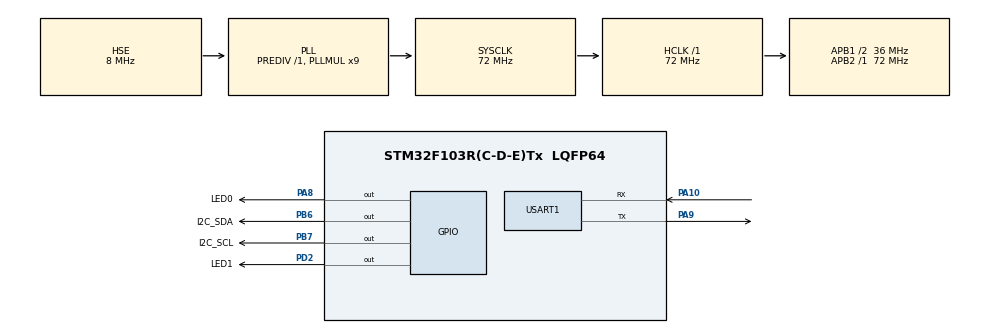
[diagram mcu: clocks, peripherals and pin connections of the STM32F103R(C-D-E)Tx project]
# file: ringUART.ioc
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Mcu.Family=STM32F1
Mcu.Name=STM32F103R(C-D-E)Tx
Mcu.Package=LQFP64
NVIC.PriorityGroup=NVIC_PRIORITYGROUP_4
NVIC.USART1_IRQn=true\:0\:0\:false\:false\:true\:true\:true
PA10.Mode=Asynchronous
PA10.Signal=USART1_RX
PA13.Mode=JTAG_5_pins
PA13.Signal=SYS_JTMS-SWDIO
PA14.Mode=JTAG_5_pins
PA14.Signal=SYS_JTCK-SWCLK
PA15.Mode=JTAG_5_pins
PA15.Signal=SYS_JTDI
PA8.GPIO_Label=LED0
PA8.GPIO_PuPd=GPIO_NOPULL
PA8.GPIO_Speed=GPIO_SPEED_FREQ_HIGH
PA8.PinState=GPIO_PIN_SET
PA8.Signal=GPIO_Output
PA9.Mode=Asynchronous
PA9.Signal=USART1_TX
PB3.Mode=JTAG_5_pins
PB3.Signal=SYS_JTDO-TRACESWO
PB4.Mode=JTAG_5_pins
PB4.Signal=SYS_NJTRST
PB6.GPIO_Label=I2C_SDA
PB6.Signal=GPIO_Output
PB7.GPIO_Label=I2C_SCL
PB7.Signal=GPIO_Output
PC14-OSC32_IN.Mode=LSE-External-Oscillator
PC14-OSC32_IN.Signal=RCC_OSC32_IN
PC15-OSC32_OUT.Mode=LSE-External-Oscillator
PC15-OSC32_OUT.Signal=RCC_OSC32_OUT
PD0-OSC_IN.Mode=HSE-External-Oscillator
PD0-OSC_IN.Signal=RCC_OSC_IN
PD1-OSC_OUT.Mode=HSE-External-Oscillator
PD1-OSC_OUT.Signal=RCC_OSC_OUT
PD2.GPIO_Label=LED1
PD2.GPIO_PuPd=GPIO_NOPULL
PD2.GPIO_Speed=GPIO_SPEED_FREQ_HIGH
PD2.PinState=GPIO_PIN_SET
PD2.Signal=GPIO_Output
ProjectManager.HeapSize=0x200
ProjectManager.StackSize=0x400
ProjectManager.TargetToolchain=MDK-ARM V5.27
RCC.AHBFreq_Value=72000000
RCC.APB1CLKDivider=RCC_HCLK_DIV2
RCC.APB1Freq_Value=36000000
RCC.APB1TimFreq_Value=72000000
RCC.APB2Freq_Value=72000000
RCC.APB2TimFreq_Value=72000000
RCC.HCLKFreq_Value=72000000
RCC.PLLMUL=RCC_PLL_MUL9
RCC.PLLSourceVirtual=RCC_PLLSOURCE_HSE
RCC.SYSCLKFreq_VALUE=72000000
RCC.SYSCLKSource=RCC_SYSCLKSOURCE_PLLCLK
RCC.USBFreq_Value=72000000
USART1.VirtualMode=VM_ASYNC
board=custom

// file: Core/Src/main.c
/* USER CODE BEGIN Header */
/**
  ******************************************************************************
  * @file           : main.c
  * @brief          : Main program body
  ******************************************************************************
  * @attention
  *
  * <h2><center>&copy; Copyright (c) 2022 STMicroelectronics.
  * All rights reserved.</center></h2>
  *
  * This software component is licensed by ST under BSD 3-Clause license,
  * the "License"; You may not use this file except in compliance with the
  * License. You may obtain a copy of the License at:
  *                        opensource.org/licenses/BSD-3-Clause
  *
  ******************************************************************************
  */
/* USER CODE END Header */
#include "main.h"
#include "usart.h"
#include "gpio.h"

/* USER CODE BEGIN Includes */
#include "bsp_i2c.h"
/* USER CODE END Includes */

/* USER CODE BEGIN PTD */
static I2C_HANDLE AT24C02_Handle;
static I2C_HANDLE I2C1_Handle;
/* USER CODE END PTD */

/* USER CODE BEGIN PV */

#define ADDR_AT24C02_Write 0xA0
#define ADDR_AT24C02_Read 0xA1
uint8_t I2C_Buffer_Write[256];
uint8_t I2C_Buffer_Read[256];

#define AT24C02_SDA_Port GPIOB
#define AT24C02_SCL_Port GPIOB
#define AT24C02_SDA_Pin GPIO_PIN_7
#define AT24C02_SCL_Pin GPIO_PIN_6
#define I2C_SDA_Port	GPIOC
#define I2C_SCL_Port	GPIOC
#define I2C_SDA_Pin		GPIO_PIN_11
#define I2C_SCL_Pin		GPIO_PIN_12

/* USER CODE END PV */

void SystemClock_Config(void);

/* USER CODE BEGIN 0 */
	uint8_t ack;
/* USER CODE END 0 */

int main(void)
{
  /* USER CODE BEGIN 1 */
	uint16_t i = 0;
    delay_init(72);
  /* USER CODE END 1 */

  /* MCU Configuration--------------------------------------------------------*/

  /* Reset of all peripherals, Initializes the Flash interface and the Systick. */
  HAL_Init();

  /* Configure the system clock */
  SystemClock_Config();

  /* Initialize all configured peripherals */
  MX_GPIO_Init();
  MX_USART1_UART_Init();
  /* USER CODE BEGIN 2 */
    __HAL_UART_ENABLE_IT(&huart1,UART_IT_RXNE);
    __HAL_UART_ENABLE_IT(&huart1,UART_IT_IDLE);
    LED0_ON;
    LED1_ON;

	if(I2C_Init(&AT24C02_Handle,AT24C02_SDA_Port,AT24C02_SCL_Port,AT24C02_SDA_Pin,AT24C02_SCL_Pin,1)==false)
	{
		printf("AT24C02 初始化失败，IIC接口初始化失败！\r\n");
		return false;
	}
	if(I2C_Init(&I2C1_Handle,I2C_SDA_Port,I2C_SCL_Port,I2C_SDA_Pin,I2C_SCL_Pin,1)==false)
	{
		printf("I2C1 初始化失败，I2C接口初始化失败！\r\n");
		return false;
	}
  /* USER CODE END 2 */

  /* Infinite loop */
  /* USER CODE BEGIN WHILE */

    while (1)
    {
		uint8_t address,nread;
		int nDevices = 0;

		printf("I2C0 Scanning for I2C devices ...\r\n");
		for(address = 0x00 ;address < 0xFF; address++)
		{
			I2C_Start(&AT24C02_Handle);
			I2C_SendByte(&AT24C02_Handle,address);
			ack = I2C_WaitAck(&AT24C02_Handle);
			if(ack != false && (nDevices %2 == 0))
			{
                printf("I2C0 device found at write address = 0x%02X\r\n",address);
				nDevices++;
			}
			else if(ack != false && (nDevices %2 == 1)){
                printf("I2C0 device found at read  address = 0x%02X\r\n",address);
				nDevices++;
			}
  			I2C_Stop(&AT24C02_Handle);
		}
		if(nDevices == 0)
		{
			printf("No I2C0 devices found\r\n");
		}
		nDevices = 0;
		delay_ms(5000);
		printf("I2C1 Scanning for I2C devices ...\r\n");
		for(address = 0x00 ;address < 0xFF; address++)
		{
			I2C_Start(&I2C1_Handle);
			I2C_SendByte(&I2C1_Handle,address);
			ack = I2C_WaitAck(&I2C1_Handle);
			if(ack != false && (nDevices %2 == 0))
			{
                printf("I2C1 device found at write address = 0x%02X\r\n",address);
				nDevices++;
			}
			else if(ack != false && (nDevices %2 == 1)){
                printf("I2C1 device found at read  address = 0x%02X\r\n",address);
				nDevices++;
			}
  			I2C_Stop(&I2C1_Handle);
		}
		if(nDevices == 0)
		{
			printf("No I2C1 devices found\r\n");
		}
		delay_ms(5000);
    /* USER CODE END WHILE */

    }
}

void SystemClock_Config(void)
{
  RCC_OscInitTypeDef RCC_OscInitStruct = {0};
  RCC_ClkInitTypeDef RCC_ClkInitStruct = {0};

  /** Initializes the RCC Oscillators according to the specified parameters
  * in the RCC_OscInitTypeDef structure.
  */
  RCC_OscInitStruct.OscillatorType = RCC_OSCILLATORTYPE_HSE;
  RCC_OscInitStruct.HSEState = RCC_HSE_ON;
  RCC_OscInitStruct.HSEPredivValue = RCC_HSE_PREDIV_DIV1;
  RCC_OscInitStruct.HSIState = RCC_HSI_ON;
  RCC_OscInitStruct.PLL.PLLState = RCC_PLL_ON;
  RCC_OscInitStruct.PLL.PLLSource = RCC_PLLSOURCE_HSE;
  RCC_OscInitStruct.PLL.PLLMUL = RCC_PLL_MUL9;
  if (HAL_RCC_OscConfig(&RCC_OscInitStruct) != HAL_OK)
  {
    Error_Handler();
  }
  /** Initializes the CPU, AHB and APB buses clocks
  */
  RCC_ClkInitStruct.ClockType = RCC_CLOCKTYPE_HCLK|RCC_CLOCKTYPE_SYSCLK
                              |RCC_CLOCKTYPE_PCLK1|RCC_CLOCKTYPE_PCLK2;
  RCC_ClkInitStruct.SYSCLKSource = RCC_SYSCLKSOURCE_PLLCLK;
  RCC_ClkInitStruct.AHBCLKDivider = RCC_SYSCLK_DIV1;
  RCC_ClkInitStruct.APB1CLKDivider = RCC_HCLK_DIV2;
  RCC_ClkInitStruct.APB2CLKDivider = RCC_HCLK_DIV1;

  if (HAL_RCC_ClockConfig(&RCC_ClkInitStruct, FLASH_LATENCY_2) != HAL_OK)
  {
    Error_Handler();
  }
}

void Error_Handler(void)
{
}

/************************ (C) COPYRIGHT STMicroelectronics *****END OF FILE****/
